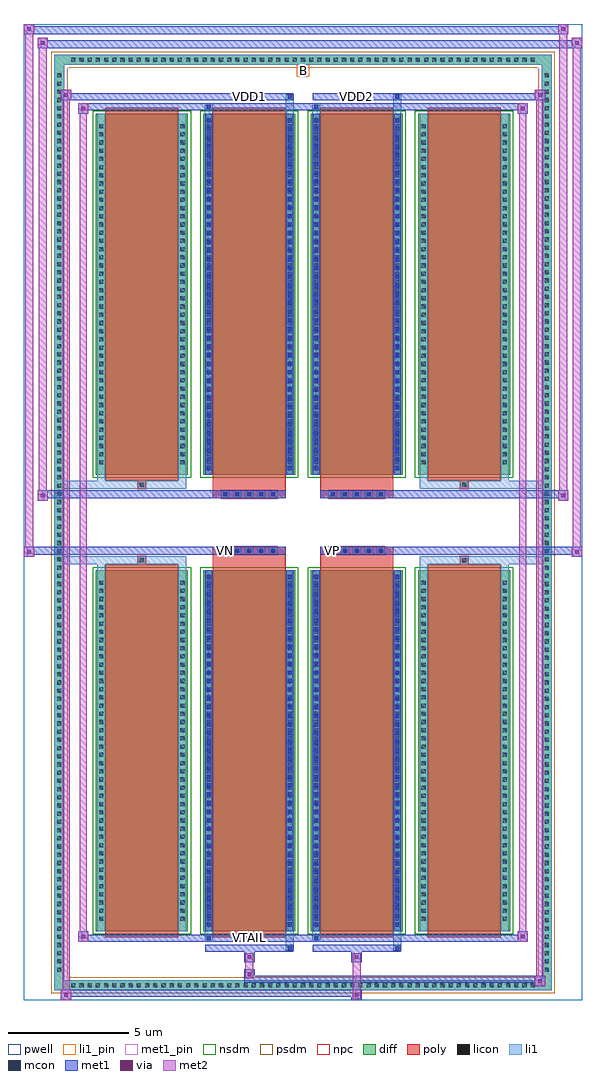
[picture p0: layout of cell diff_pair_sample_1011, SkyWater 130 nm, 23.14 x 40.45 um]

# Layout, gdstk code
import gdstk
lib = gdstk.Library(unit=1e-6, precision=5e-09)
def R(c, l, rs):  # rectangles x0, y0, x1, y1
    for r in rs: c.add(gdstk.rectangle(r[:2], r[2:], *l))
def A(c, l, x, y, w, h, nx, ny, dx, dy):  # array of equal rectangles
    R(c, l, [(x+i*dx, y+j*dy, x+i*dx+w, y+j*dy+h) for i in range(nx) for j in range(ny)])
def P(c, l, *ps):  # polygons
    for p in ps: c.add(gdstk.Polygon(p, *l))
pwell = (64, 44)
diff = (65, 20)
poly = (66, 20)
licon = (66, 44)
li1_pin = (67, 16)
li1 = (67, 20)
mcon = (67, 44)
met1_pin = (68, 16)
met1 = (68, 20)
via = (68, 44)
met2 = (69, 20)
nsdm = (93, 44)
psdm = (94, 20)
npc = (95, 20)

diff_pair_sample_1011 = lib.new_cell('diff_pair_sample_1011')
R(diff_pair_sample_1011, pwell, [(-11.57,-19.79,11.57,20.66), (-8.89,-17.98,-0.01,-0.8), (0.01,-17.98,8.89,-0.8), (-8.89,0.8,-0.01,17.98), (0.01,0.8,8.89,17.98)])
A(diff_pair_sample_1011, diff, -9.725, -19.39, 0.41, 0.41, 57, 2, 0.34, 38.37)
A(diff_pair_sample_1011, diff, -10.3, -18.735, 0.41, 0.41, 1, 110, 0, 0.34)
A(diff_pair_sample_1011, diff, 9.89, -18.735, 0.41, 0.41, 1, 110, 0, 0.34)
A(diff_pair_sample_1011, diff, -8.58, -16.935, 3.81, 14.95, 4, 2, 4.45, 18.92)
R(diff_pair_sample_1011, diff, [(-9.725,-19.39,9.725,-18.98), (-10.3,-18.735,-9.89,18.735), (9.89,-18.735,10.3,18.735), (-9.725,18.98,9.725,19.39)])
P(diff_pair_sample_1011, diff, [(10.3,19.39),(-10.3,19.39),(-10.3,-18.98),(-9.89,-18.98),(-9.89,18.98),(9.89,18.98),(9.89,-18.98),(-9.89,-18.98),(-10.3,-18.98),(-10.3,-19.39),(10.3,-19.39)])
A(diff_pair_sample_1011, poly, -8.19, -17.185, 3.03, 15.45, 4, 2, 4.45, 18.92)
A(diff_pair_sample_1011, poly, -3.39, -1.33, 0.33, 0.33, 5, 2, 0.5, 2.33)
A(diff_pair_sample_1011, poly, 1.06, -1.33, 0.33, 0.33, 5, 2, 0.5, 2.33)
R(diff_pair_sample_1011, poly, [(-6.84,-1.735,-6.51,-1.405), (-6.84,-1.735,-6.51,-1.405), (-3.74,-1.735,-0.71,-1.33), (0.71,-1.735,3.74,-1.33), (6.51,-1.735,6.84,-1.405), (6.51,-1.735,6.84,-1.405), (-3.74,-1.33,-0.71,-1), (0.71,-1.33,3.74,-1), (-3.74,1,-0.71,1.33), (0.71,1,3.74,1.33), (-3.74,1.33,-0.71,1.735), (0.71,1.33,3.74,1.735), (-6.84,1.405,-6.51,1.735), (-6.84,1.405,-6.51,1.735), (6.51,1.405,6.84,1.735), (6.51,1.405,6.84,1.735)])
A(diff_pair_sample_1011, licon, -9.605, -19.27, 0.17, 0.17, 57, 2, 0.34, 38.37)
A(diff_pair_sample_1011, licon, -10.18, -18.615, 0.17, 0.17, 1, 110, 0, 0.34)
A(diff_pair_sample_1011, licon, 10.01, -18.615, 0.17, 0.17, 1, 110, 0, 0.34)
A(diff_pair_sample_1011, licon, -8.44, -16.515, 0.17, 0.17, 1, 42, 0, 0.34)
A(diff_pair_sample_1011, licon, -5.08, -16.515, 0.17, 0.17, 1, 42, 0, 0.34)
A(diff_pair_sample_1011, licon, -3.99, -16.515, 0.17, 0.17, 1, 42, 0, 0.34)
A(diff_pair_sample_1011, licon, -0.63, -16.515, 0.17, 0.17, 1, 42, 0, 0.34)
A(diff_pair_sample_1011, licon, 0.46, -16.515, 0.17, 0.17, 1, 42, 0, 0.34)
A(diff_pair_sample_1011, licon, 3.82, -16.515, 0.17, 0.17, 1, 42, 0, 0.34)
A(diff_pair_sample_1011, licon, 4.91, -16.515, 0.17, 0.17, 1, 42, 0, 0.34)
A(diff_pair_sample_1011, licon, 8.27, -16.515, 0.17, 0.17, 1, 42, 0, 0.34)
A(diff_pair_sample_1011, licon, -3.31, -1.25, 0.17, 0.17, 5, 2, 0.5, 2.33)
A(diff_pair_sample_1011, licon, 1.14, -1.25, 0.17, 0.17, 5, 2, 0.5, 2.33)
A(diff_pair_sample_1011, licon, -8.44, 2.405, 0.17, 0.17, 1, 42, 0, 0.34)
A(diff_pair_sample_1011, licon, -5.08, 2.405, 0.17, 0.17, 1, 42, 0, 0.34)
A(diff_pair_sample_1011, licon, -3.99, 2.405, 0.17, 0.17, 1, 42, 0, 0.34)
A(diff_pair_sample_1011, licon, -0.63, 2.405, 0.17, 0.17, 1, 42, 0, 0.34)
A(diff_pair_sample_1011, licon, 0.46, 2.405, 0.17, 0.17, 1, 42, 0, 0.34)
A(diff_pair_sample_1011, licon, 3.82, 2.405, 0.17, 0.17, 1, 42, 0, 0.34)
A(diff_pair_sample_1011, licon, 4.91, 2.405, 0.17, 0.17, 1, 42, 0, 0.34)
A(diff_pair_sample_1011, licon, 8.27, 2.405, 0.17, 0.17, 1, 42, 0, 0.34)
R(diff_pair_sample_1011, licon, [(-6.76,-1.655,-6.59,-1.485), (6.59,-1.655,6.76,-1.485), (-6.76,1.485,-6.59,1.655), (6.59,1.485,6.76,1.655)])
R(diff_pair_sample_1011, li1_pin, [(-0.25,18.48,0.25,18.98)])
A(diff_pair_sample_1011, li1, -9.685, -19.35, 0.33, 0.33, 57, 2, 0.34, 38.37)
A(diff_pair_sample_1011, li1, -10.26, -18.695, 0.33, 0.33, 1, 110, 0, 0.34)
A(diff_pair_sample_1011, li1, 9.93, -18.695, 0.33, 0.33, 1, 110, 0, 0.34)
A(diff_pair_sample_1011, li1, -3.99, -16.745, 0.17, 0.17, 1, 41, 0, 0.36)
A(diff_pair_sample_1011, li1, -0.63, -16.745, 0.17, 0.17, 1, 41, 0, 0.36)
A(diff_pair_sample_1011, li1, 0.46, -16.745, 0.17, 0.17, 1, 41, 0, 0.36)
A(diff_pair_sample_1011, li1, 3.82, -16.745, 0.17, 0.17, 1, 41, 0, 0.36)
A(diff_pair_sample_1011, li1, -8.52, -16.595, 0.33, 0.33, 1, 42, 0, 0.34)
A(diff_pair_sample_1011, li1, -5.16, -16.595, 0.33, 0.33, 1, 42, 0, 0.34)
A(diff_pair_sample_1011, li1, -4.07, -16.595, 0.33, 0.33, 1, 42, 0, 0.34)
A(diff_pair_sample_1011, li1, -0.71, -16.595, 0.33, 0.33, 1, 42, 0, 0.34)
A(diff_pair_sample_1011, li1, 0.38, -16.595, 0.33, 0.33, 1, 42, 0, 0.34)
A(diff_pair_sample_1011, li1, 3.74, -16.595, 0.33, 0.33, 1, 42, 0, 0.34)
A(diff_pair_sample_1011, li1, 4.83, -16.595, 0.33, 0.33, 1, 42, 0, 0.34)
A(diff_pair_sample_1011, li1, 8.19, -16.595, 0.33, 0.33, 1, 42, 0, 0.34)
A(diff_pair_sample_1011, li1, -3.39, -1.33, 0.33, 0.33, 5, 2, 0.5, 2.33)
A(diff_pair_sample_1011, li1, 1.06, -1.33, 0.33, 0.33, 5, 2, 0.5, 2.33)
A(diff_pair_sample_1011, li1, -3.99, 2.175, 0.17, 0.17, 1, 41, 0, 0.36)
A(diff_pair_sample_1011, li1, -0.63, 2.175, 0.17, 0.17, 1, 41, 0, 0.36)
A(diff_pair_sample_1011, li1, 0.46, 2.175, 0.17, 0.17, 1, 41, 0, 0.36)
A(diff_pair_sample_1011, li1, 3.82, 2.175, 0.17, 0.17, 1, 41, 0, 0.36)
A(diff_pair_sample_1011, li1, -8.52, 2.325, 0.33, 0.33, 1, 42, 0, 0.34)
A(diff_pair_sample_1011, li1, -5.16, 2.325, 0.33, 0.33, 1, 42, 0, 0.34)
A(diff_pair_sample_1011, li1, -4.07, 2.325, 0.33, 0.33, 1, 42, 0, 0.34)
A(diff_pair_sample_1011, li1, -0.71, 2.325, 0.33, 0.33, 1, 42, 0, 0.34)
A(diff_pair_sample_1011, li1, 0.38, 2.325, 0.33, 0.33, 1, 42, 0, 0.34)
A(diff_pair_sample_1011, li1, 3.74, 2.325, 0.33, 0.33, 1, 42, 0, 0.34)
A(diff_pair_sample_1011, li1, 4.83, 2.325, 0.33, 0.33, 1, 42, 0, 0.34)
A(diff_pair_sample_1011, li1, 8.19, 2.325, 0.33, 0.33, 1, 42, 0, 0.34)
R(diff_pair_sample_1011, li1, [(-10.3,-19.39,-9.89,-18.98), (-10.3,-19.39,-9.89,-18.98), (-9.89,-19.39,9.89,-18.98), (9.89,-19.39,10.3,-18.98), (9.89,-19.39,10.3,-18.98), (-10.3,-18.98,-9.89,18.98), (9.89,-18.98,10.3,18.98), (-0.71,-17.74,-0.38,-16.935), (-0.63,-17.74,-0.46,-17.57), (3.74,-17.74,4.07,-16.935), (3.82,-17.74,3.99,-17.57), (-4.07,-17.31,-3.74,-16.935), (-3.99,-17.31,-3.82,-17.14), (0.38,-17.31,0.71,-16.935), (0.46,-17.31,0.63,-17.14), (-8.52,-16.935,-8.19,-1.985), (-5.16,-16.935,-4.83,-1.985), (-4.07,-16.935,-3.74,-1.985), (-0.71,-16.935,-0.38,-1.985), (0.38,-16.935,0.71,-1.985), (3.74,-16.935,4.07,-1.985), (4.83,-16.935,5.16,-1.985), (8.19,-16.935,8.52,-1.985), (-3.99,-16.745,-3.82,-2.175), (-0.63,-16.745,-0.46,-2.175), (0.46,-16.745,0.63,-2.175), (3.82,-16.745,3.99,-2.175), (-8.52,-1.985,-8.19,-1.405), (-5.16,-1.985,-4.83,-1.405), (4.83,-1.985,5.16,-1.405), (8.19,-1.985,8.52,-1.405), (-10.3,-1.735,-6.84,-1.405), (-8.52,-1.735,-6.84,-1.405), (-6.84,-1.735,-6.51,-1.405), (-6.51,-1.735,-4.83,-1.405), (4.83,-1.735,6.51,-1.405), (6.51,-1.735,6.84,-1.405), (6.51,-1.735,10.3,-1.405), (6.84,-1.735,8.52,-1.405), (-10.3,1.405,-6.84,1.735), (-8.52,1.405,-6.84,1.735), (-8.52,1.405,-8.19,1.985), (-6.84,1.405,-6.51,1.735), (-6.51,1.405,-4.83,1.735), (-5.16,1.405,-4.83,1.985), (4.83,1.405,6.51,1.735), (4.83,1.405,5.16,1.985), (6.51,1.405,6.84,1.735), (6.51,1.405,10.3,1.735), (6.84,1.405,8.52,1.735), (8.19,1.405,8.52,1.985), (-8.52,1.985,-8.19,16.935), (-5.16,1.985,-4.83,16.935), (-4.07,1.985,-3.74,16.935), (-0.71,1.985,-0.38,16.935), (0.38,1.985,0.71,16.935), (3.74,1.985,4.07,16.935), (4.83,1.985,5.16,16.935), (8.19,1.985,8.52,16.935), (-3.99,2.175,-3.82,16.745), (-0.63,2.175,-0.46,16.745), (0.46,2.175,0.63,16.745), (3.82,2.175,3.99,16.745), (-4.07,16.935,-3.74,17.31), (-0.71,16.935,-0.38,17.74), (0.38,16.935,0.71,17.31), (3.74,16.935,4.07,17.74), (-3.99,17.14,-3.82,17.31), (0.46,17.14,0.63,17.31), (-0.63,17.57,-0.46,17.74), (3.82,17.57,3.99,17.74), (-10.3,18.98,-9.89,19.39), (-10.3,18.98,-9.89,19.39), (-9.89,18.98,9.89,19.39), (9.89,18.98,10.3,19.39), (9.89,18.98,10.3,19.39)])
A(diff_pair_sample_1011, mcon, -3.99, -16.745, 0.17, 0.17, 1, 41, 0, 0.36)
A(diff_pair_sample_1011, mcon, -0.63, -16.745, 0.17, 0.17, 1, 41, 0, 0.36)
A(diff_pair_sample_1011, mcon, 0.46, -16.745, 0.17, 0.17, 1, 41, 0, 0.36)
A(diff_pair_sample_1011, mcon, 3.82, -16.745, 0.17, 0.17, 1, 41, 0, 0.36)
A(diff_pair_sample_1011, mcon, -3.31, -1.25, 0.17, 0.17, 5, 2, 0.5, 2.33)
A(diff_pair_sample_1011, mcon, 1.14, -1.25, 0.17, 0.17, 5, 2, 0.5, 2.33)
A(diff_pair_sample_1011, mcon, -3.99, 2.175, 0.17, 0.17, 1, 41, 0, 0.36)
A(diff_pair_sample_1011, mcon, -0.63, 2.175, 0.17, 0.17, 1, 41, 0, 0.36)
A(diff_pair_sample_1011, mcon, 0.46, 2.175, 0.17, 0.17, 1, 41, 0, 0.36)
A(diff_pair_sample_1011, mcon, 3.82, 2.175, 0.17, 0.17, 1, 41, 0, 0.36)
R(diff_pair_sample_1011, mcon, [(-0.63,-17.74,-0.46,-17.57), (3.82,-17.74,3.99,-17.57), (-3.99,-17.31,-3.82,-17.14), (0.46,-17.31,0.63,-17.14), (-3.99,17.14,-3.82,17.31), (0.46,17.14,0.63,17.31), (-0.63,17.57,-0.46,17.74), (3.82,17.57,3.99,17.74)])
R(diff_pair_sample_1011, met1_pin, [(-2.36,-17.35,-2.09,-17.08), (-3.36,-1.29,-3.09,-1.02), (1.09,-1.29,1.36,-1.02), (-2.36,17.53,-2.09,17.8), (2.09,17.53,2.36,17.8)])
A(diff_pair_sample_1011, met1, -4.05, -16.805, 0.29, 0.29, 1, 41, 0, 0.36)
A(diff_pair_sample_1011, met1, -0.69, -16.805, 0.29, 0.29, 1, 41, 0, 0.36)
A(diff_pair_sample_1011, met1, 0.4, -16.805, 0.29, 0.29, 1, 41, 0, 0.36)
A(diff_pair_sample_1011, met1, 3.76, -16.805, 0.29, 0.29, 1, 41, 0, 0.36)
A(diff_pair_sample_1011, met1, -3.37, -1.31, 0.29, 0.29, 5, 2, 0.5, 2.33)
A(diff_pair_sample_1011, met1, 1.08, -1.31, 0.29, 0.29, 5, 2, 0.5, 2.33)
A(diff_pair_sample_1011, met1, -4.05, 2.115, 0.29, 0.29, 1, 41, 0, 0.36)
A(diff_pair_sample_1011, met1, -0.69, 2.115, 0.29, 0.29, 1, 41, 0, 0.36)
A(diff_pair_sample_1011, met1, 0.4, 2.115, 0.29, 0.29, 1, 41, 0, 0.36)
A(diff_pair_sample_1011, met1, 3.76, 2.115, 0.29, 0.29, 1, 41, 0, 0.36)
R(diff_pair_sample_1011, met1, [(-10.03,-19.79,-9.6,-19.36), (2.01,-19.79,2.44,-19.36), (-10.03,-19.65,2.44,-19.36), (9.6,-19.22,10.03,-18.79), (-2.44,-19.08,10.03,-18.79), (-2.44,-18.94,-2.01,-18.51), (-2.44,-18.23,-2.01,-17.8), (2.01,-18.23,2.44,-17.8), (-4.05,-17.8,-0.4,-17.51), (-0.69,-17.8,-0.4,-17.51), (0.4,-17.8,4.05,-17.51), (3.76,-17.8,4.05,-17.51), (-9.32,-17.37,-8.89,-16.94), (-9.32,-17.37,-4.05,-17.08), (-4.05,-17.37,-3.76,-17.08), (-4.05,-17.37,-0.4,-17.08), (-0.4,-17.37,0.4,-17.08), (0.4,-17.37,0.69,-17.08), (0.4,-17.37,4.05,-17.08), (4.05,-17.37,9.32,-17.08), (8.89,-17.37,9.32,-16.94), (-4.05,-16.935,-3.76,-1.985), (-0.69,-16.935,-0.4,-1.985), (0.4,-16.935,0.69,-1.985), (3.76,-16.935,4.05,-1.985), (-11.57,-1.43,-11.14,-1), (11.14,-1.43,11.57,-1), (-11.57,-1.33,-0.71,-1), (-3.74,-1.33,-0.71,-1), (0.71,-1.33,3.74,-1), (0.71,-1.33,11.57,-1), (-11,0.9,-10.57,1.33), (10.57,0.9,11,1.33), (-11,1,-3.74,1.33), (-3.74,1,-0.71,1.33), (0.71,1,3.74,1.33), (3.74,1,11,1.33), (-4.05,1.985,-3.76,16.935), (-0.69,1.985,-0.4,16.935), (0.4,1.985,0.69,16.935), (3.76,1.985,4.05,16.935), (-9.32,16.94,-8.89,17.37), (8.89,16.94,9.32,17.37), (-9.32,17.08,-4.05,17.37), (-4.05,17.08,-3.76,17.37), (-4.05,17.08,-0.4,17.37), (-0.4,17.08,0.4,17.37), (0.4,17.08,0.69,17.37), (0.4,17.08,4.05,17.37), (4.05,17.08,9.32,17.37), (-10.03,17.51,-9.6,17.94), (-10.03,17.51,-4.05,17.8), (-4.05,17.51,-0.4,17.8), (-0.69,17.51,-0.4,17.8), (0.4,17.51,4.05,17.8), (3.76,17.51,4.05,17.8), (4.05,17.51,10.03,17.8), (9.6,17.51,10.03,17.94), (-11,19.66,-10.57,20.09), (-11,19.66,-8.89,19.99), (-8.89,19.66,8.89,19.99), (8.89,19.66,11.57,19.99), (11.14,19.66,11.57,20.09), (-11.57,20.23,-11.14,20.66), (-11.57,20.23,-8.89,20.56), (-8.89,20.23,8.89,20.56), (8.89,20.23,11,20.56), (10.57,20.23,11,20.66)])
R(diff_pair_sample_1011, via, [(-9.89,-19.65,-9.74,-19.5), (2.15,-19.65,2.3,-19.5), (9.74,-19.08,9.89,-18.93), (-2.3,-18.8,-2.15,-18.65), (-2.3,-18.09,-2.15,-17.94), (2.15,-18.09,2.3,-17.94), (-9.18,-17.23,-9.03,-17.08), (9.03,-17.23,9.18,-17.08), (-11.43,-1.29,-11.28,-1.14), (11.28,-1.29,11.43,-1.14), (-10.86,1.04,-10.71,1.19), (10.71,1.04,10.86,1.19), (-9.18,17.08,-9.03,17.23), (9.03,17.08,9.18,17.23), (-9.89,17.65,-9.74,17.8), (9.74,17.65,9.89,17.8), (-10.86,19.8,-10.71,19.95), (11.28,19.8,11.43,19.95), (-11.43,20.37,-11.28,20.52), (10.71,20.37,10.86,20.52)])
R(diff_pair_sample_1011, met2, [(-10.03,-19.79,-9.6,-19.36), (-9.96,-19.79,-9.67,17.94), (-9.67,-19.79,-9.6,-19.36), (-9.98,-19.74,-9.65,-19.41), (2.06,-19.74,2.39,-19.41), (2.06,-19.41,2.39,-18.18), (9.6,-19.22,10.03,-18.79), (9.67,-19.22,9.96,17.94), (9.96,-19.22,10.03,-18.79), (9.65,-19.17,9.98,-18.84), (-2.39,-18.89,-2.06,-18.56), (-2.39,-18.56,-2.06,-18.18), (-2.39,-18.18,-2.06,-17.85), (2.06,-18.18,2.39,-17.85), (-9.32,-17.37,-8.89,-16.94), (-9.25,-17.37,-8.96,17.37), (-8.96,-17.37,-8.89,-16.94), (8.89,-17.37,9.32,-16.94), (8.96,-17.37,9.25,17.37), (9.25,-17.37,9.32,-16.94), (-9.27,-17.32,-8.94,-16.99), (8.94,-17.32,9.27,-16.99), (-11.57,-1.43,-11.14,-1), (-11.52,-1.43,-11.19,20.66), (-11.19,-1.43,-11.14,-1), (11.14,-1.43,11.57,-1), (11.19,-1.43,11.52,20.09), (11.52,-1.43,11.57,-1), (-11.52,-1.38,-11.19,-1.05), (11.19,-1.38,11.52,-1.05), (-11,0.9,-10.57,1.33), (-10.95,0.9,-10.62,20.09), (-10.62,0.9,-10.57,1.33), (10.57,0.9,11,1.33), (10.62,0.9,10.95,20.66), (10.95,0.9,11,1.33), (-10.95,0.95,-10.62,1.28), (10.62,0.95,10.95,1.28), (-9.32,16.94,-8.89,17.37), (-8.96,16.94,-8.89,17.37), (8.89,16.94,9.32,17.37), (9.25,16.94,9.32,17.37), (-9.27,16.99,-8.94,17.32), (8.94,16.99,9.27,17.32), (-10.03,17.51,-9.6,17.94), (-9.67,17.51,-9.6,17.94), (9.6,17.51,10.03,17.94), (9.96,17.51,10.03,17.94), (-9.98,17.56,-9.65,17.89), (9.65,17.56,9.98,17.89), (-11,19.66,-10.57,20.09), (-10.62,19.66,-10.57,20.09), (11.14,19.66,11.57,20.09), (11.52,19.66,11.57,20.09), (-10.95,19.71,-10.62,20.04), (11.19,19.71,11.52,20.04), (-11.57,20.23,-11.14,20.66), (-11.19,20.23,-11.14,20.66), (10.57,20.23,11,20.66), (10.95,20.23,11,20.66), (-11.52,20.28,-11.19,20.61), (10.62,20.28,10.95,20.61)])
A(diff_pair_sample_1011, nsdm, -8.71, -17.065, 4.07, 15.21, 4, 2, 4.45, 18.92)
P(diff_pair_sample_1011, psdm, [(10.43,19.52),(-10.43,19.52),(-10.43,-18.85),(-9.76,-18.85),(-9.76,18.85),(9.76,18.85),(9.76,-18.85),(-9.76,-18.85),(-10.43,-18.85),(-10.43,-19.52),(10.43,-19.52)])
A(diff_pair_sample_1011, npc, -3.41, -1.35, 0.37, 0.37, 5, 2, 0.5, 2.33)
A(diff_pair_sample_1011, npc, 1.04, -1.35, 0.37, 0.37, 5, 2, 0.5, 2.33)
R(diff_pair_sample_1011, npc, [(-6.86,-1.755,-6.49,-1.385), (6.49,-1.755,6.86,-1.385), (-3.41,-1.35,-2.54,-0.98), (-3.41,-1.35,-2.54,-0.98), (-2.91,-1.35,-2.04,-0.98), (-2.91,-1.35,-2.04,-0.98), (-2.41,-1.35,-1.54,-0.98), (-2.41,-1.35,-1.54,-0.98), (-1.91,-1.35,-1.04,-0.98), (-1.91,-1.35,-1.04,-0.98), (1.04,-1.35,1.91,-0.98), (1.04,-1.35,1.91,-0.98), (1.54,-1.35,2.41,-0.98), (1.54,-1.35,2.41,-0.98), (2.04,-1.35,2.91,-0.98), (2.04,-1.35,2.91,-0.98), (2.54,-1.35,3.41,-0.98), (2.54,-1.35,3.41,-0.98), (-3.41,0.98,-2.54,1.35), (-3.41,0.98,-2.54,1.35), (-2.91,0.98,-2.04,1.35), (-2.91,0.98,-2.04,1.35), (-2.41,0.98,-1.54,1.35), (-2.41,0.98,-1.54,1.35), (-1.91,0.98,-1.04,1.35), (-1.91,0.98,-1.04,1.35), (1.04,0.98,1.91,1.35), (1.04,0.98,1.91,1.35), (1.54,0.98,2.41,1.35), (1.54,0.98,2.41,1.35), (2.04,0.98,2.91,1.35), (2.04,0.98,2.91,1.35), (2.54,0.98,3.41,1.35), (2.54,0.98,3.41,1.35), (-6.86,1.385,-6.49,1.755), (6.49,1.385,6.86,1.755)])
diff_pair_sample_1011.add(gdstk.Label('VTAIL', (-2.225,-17.215), layer=68, texttype=5))
diff_pair_sample_1011.add(gdstk.Label('VN', (-3.225,-1.155), layer=68, texttype=5))
diff_pair_sample_1011.add(gdstk.Label('VP', (1.225,-1.155), layer=68, texttype=5))
diff_pair_sample_1011.add(gdstk.Label('B', (0,18.73), layer=67, texttype=5))
diff_pair_sample_1011.add(gdstk.Label('VDD2', (2.225,17.665), layer=68, texttype=5))
diff_pair_sample_1011.add(gdstk.Label('VDD1', (-2.225,17.665), layer=68, texttype=5))

lib.write_gds('diff_pair_sample_1011.gds')
